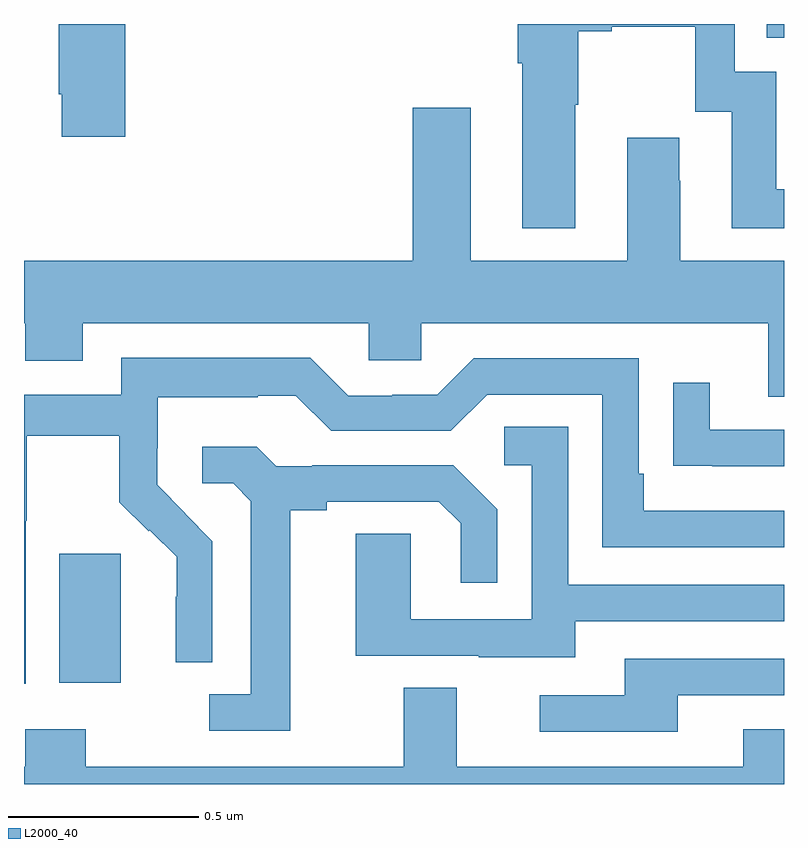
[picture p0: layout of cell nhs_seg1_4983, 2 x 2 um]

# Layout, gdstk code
import gdstk
lib = gdstk.Library(unit=1e-6, precision=1e-09)
def R(c, l, rs):  # rectangles x0, y0, x1, y1
    for r in rs: c.add(gdstk.rectangle(r[:2], r[2:], *l))
def P(c, l, *ps):  # polygons
    for p in ps: c.add(gdstk.Polygon(p, *l))
L2000_40 = (2000, 40)

nhs_seg1_4983 = lib.new_cell('nhs_seg1_4983')
R(nhs_seg1_4983, L2000_40, [(173.093,537.465,173.254,537.805), (174.955,539.163,175,539.199)])
P(nhs_seg1_4983, L2000_40, [(173.267,539.199),(173.092,539.199),(173.092,539.014),(173.099,539.014),(173.099,538.902),(173.267,538.902)],
  [(174.451,538.987),(174.459,538.987),(174.459,539.18),(174.547,539.18),(174.547,539.192),(174.767,539.192),(174.767,538.968),(174.863,538.968),(174.863,538.662),(175,538.662),(175,538.764),(174.979,538.764),(174.979,539.073),(174.87,539.073),(174.87,539.199),(174.299,539.199),(174.299,539.096),(174.311,539.096),(174.311,538.661),(174.451,538.661)],
  [(175,538.576),(174.727,538.576),(174.727,538.787),(174.724,538.787),(174.724,538.9),(174.587,538.9),(174.587,538.576),(174.175,538.576),(174.175,538.978),(174.023,538.978),(174.023,538.576),(173,538.576),(173,538.412),(173.003,538.412),(173.003,538.313),(173.155,538.313),(173.155,538.412),(173.907,538.412),(173.907,538.314),(174.045,538.314),(174.045,538.412),(174.959,538.412),(174.959,538.218),(175,538.218)],
  [(173.004,537.892),(173.007,537.892),(173.007,538.116),(173.251,538.116),(173.251,537.941),(173.328,537.864),(173.331,537.867),(173.402,537.797),(173.402,537.692),(173.399,537.692),(173.399,537.52),(173.496,537.52),(173.496,537.838),(173.423,537.911),(173.424,537.912),(173.35,537.986),(173.35,538.083),(173.352,538.083),(173.352,538.217),(173.615,538.217),(173.615,538.221),(173.715,538.221),(173.808,538.128),(174.123,538.128),(174.219,538.224),(174.522,538.224),(174.522,537.822),(175,537.822),(175,537.918),(174.631,537.918),(174.631,538.015),(174.618,538.015),(174.618,538.32),(174.183,538.32),(174.087,538.224),(173.969,538.224),(173.969,538.221),(173.853,538.221),(173.753,538.321),(173.256,538.321),(173.256,538.224),(173,538.224),(173,537.463),(173.004,537.463)],
  [(175,538.131),(174.805,538.131),(174.805,538.255),(174.709,538.255),(174.709,538.036),(174.811,538.036),(174.811,538.035),(175,538.035)],
  [(174.451,537.627),(175,537.627),(175,537.723),(174.432,537.723),(174.432,538.139),(174.264,538.139),(174.264,538.038),(174.336,538.038),(174.336,537.633),(174.018,537.633),(174.018,537.857),(173.873,537.857),(173.873,537.537),(174.197,537.537),(174.197,537.533),(174.451,537.533)],
  [(173.701,537.92),(173.797,537.92),(173.797,537.942),(174.092,537.942),(174.149,537.885),(174.149,537.729),(174.246,537.729),(174.246,537.922),(174.13,538.038),(173.758,538.038),(173.758,538.035),(173.664,538.035),(173.612,538.087),(173.469,538.087),(173.469,537.99),(173.55,537.99),(173.597,537.943),(173.597,537.435),(173.487,537.435),(173.487,537.339),(173.701,537.339)],
  [(174.721,537.432),(175,537.432),(175,537.528),(174.581,537.528),(174.581,537.432),(174.357,537.432),(174.357,537.336),(174.721,537.336)],
  [(175,537.343),(174.893,537.343),(174.893,537.244),(174.139,537.244),(174.139,537.452),(173.999,537.452),(173.999,537.244),(173.163,537.244),(173.163,537.343),(173.003,537.343),(173.003,537.244),(173,537.244),(173,537.199),(175,537.199)])

lib.write_gds('nhs_seg1_4983.gds')
